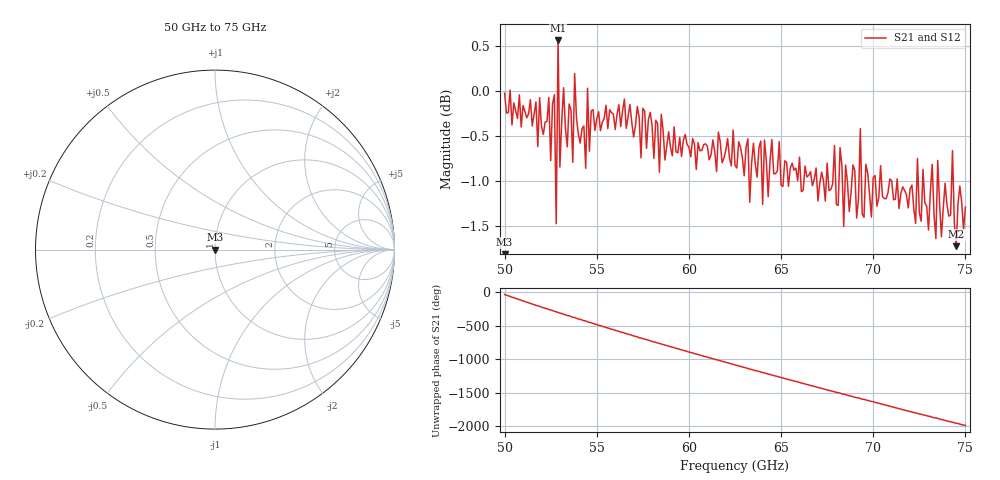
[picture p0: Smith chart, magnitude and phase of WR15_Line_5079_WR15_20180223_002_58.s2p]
# GHZ S RI R 50
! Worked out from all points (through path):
!   251 points, 50 GHz to 75 GHz, reference 50 ohm
!   highest |S21| = 0.56 dB at 52.9 GHz (marker M1); lowest = -1.7 dB at 74.5 GHz (marker M2)
!   lowest |S11| = - dB at 50 GHz (marker M3), VSWR 1.00, Z = 50 + j2.54e-16 ohm
!   |S11| at or under -10 dB: start of sweep to end of sweep
!   |S22| runs from - to - dB; largest |S21 - S12| = 1.5e-15
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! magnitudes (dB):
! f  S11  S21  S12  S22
! 50 GHz  -  0.0  0.0  -
! 52.4 GHz  -  -0.1  -0.1  -
! 52.5 GHz  -  -0.8  -0.8  -
! 52.7 GHz  -  0.0  0.0  -
! 52.8 GHz  -  -1.5  -1.5  -
! 52.9 GHz  -  0.6  0.6  -
! 53 GHz  -  -0.8  -0.8  -
! 53.2 GHz  -  0.0  0.0  -
! 54.2 GHz  -  -0.4  -0.4  -
! 58.4 GHz  -  -0.9  -0.9  -
! 58.5 GHz  -  -0.3  -0.3  -
! 62.5 GHz  -  -0.8  -0.8  -
! 66.7 GHz  -  -1.1  -1.1  -
! 70.9 GHz  -  -1.0  -1.0  -
! 73 GHz  -  -1.5  -1.5  -
! 73.2 GHz  -  -0.8  -0.8  -
! 73.4 GHz  -  -1.6  -1.6  -
! 73.5 GHz  -  -0.8  -0.8  -
! 73.7 GHz  -  -1.6  -1.6  -
! 74.3 GHz  -  -0.7  -0.7  -
! 74.5 GHz  -  -1.7  -1.7  -
! 75 GHz  -  -1.3  -1.3  -
